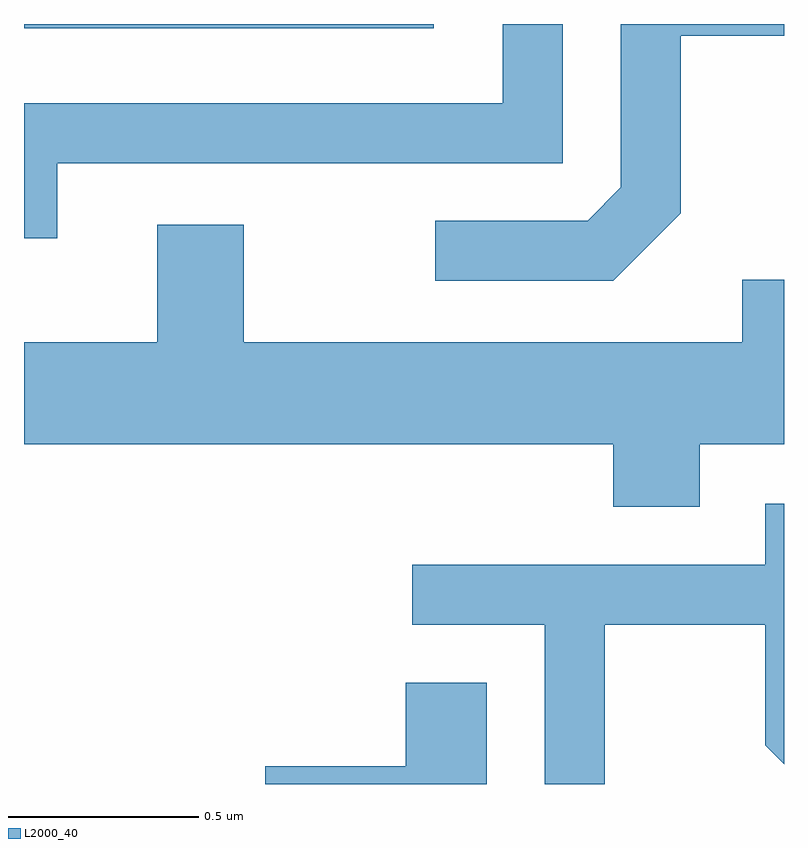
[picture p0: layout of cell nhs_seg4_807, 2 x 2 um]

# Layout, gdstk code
import gdstk
lib = gdstk.Library(unit=1e-6, precision=1e-09)
def R(c, l, rs):  # rectangles x0, y0, x1, y1
    for r in rs: c.add(gdstk.rectangle(r[:2], r[2:], *l))
def P(c, l, *ps):  # polygons
    for p in ps: c.add(gdstk.Polygon(p, *l))
L2000_40 = (2000, 40)

nhs_seg4_807 = lib.new_cell('nhs_seg4_807')
R(nhs_seg4_807, L2000_40, [(190.611,1377.971,191.689,1377.982)])
P(nhs_seg4_807, L2000_40, [(190.699,1377.616),(192.029,1377.616),(192.029,1377.982),(191.871,1377.982),(191.871,1377.774),(190.611,1377.774),(190.611,1377.418),(190.699,1377.418)],
  [(192.339,1377.484),(192.339,1377.951),(192.611,1377.951),(192.611,1377.982),(192.181,1377.982),(192.181,1377.552),(192.094,1377.464),(191.693,1377.464),(191.693,1377.306),(192.162,1377.306)],
  [(192.389,1376.876),(192.611,1376.876),(192.611,1377.309),(192.501,1377.309),(192.501,1377.144),(191.189,1377.144),(191.189,1377.454),(190.961,1377.454),(190.961,1377.144),(190.611,1377.144),(190.611,1376.876),(192.161,1376.876),(192.161,1376.711),(192.389,1376.711)],
  [(192.139,1376.401),(192.561,1376.401),(192.561,1376.084),(192.611,1376.034),(192.611,1376.719),(192.561,1376.719),(192.561,1376.559),(191.633,1376.559),(191.633,1376.401),(191.981,1376.401),(191.981,1375.982),(192.139,1375.982)],
  [(191.829,1376.249),(191.616,1376.249),(191.616,1376.029),(191.246,1376.029),(191.246,1375.982),(191.829,1375.982)])

lib.write_gds('nhs_seg4_807.gds')
